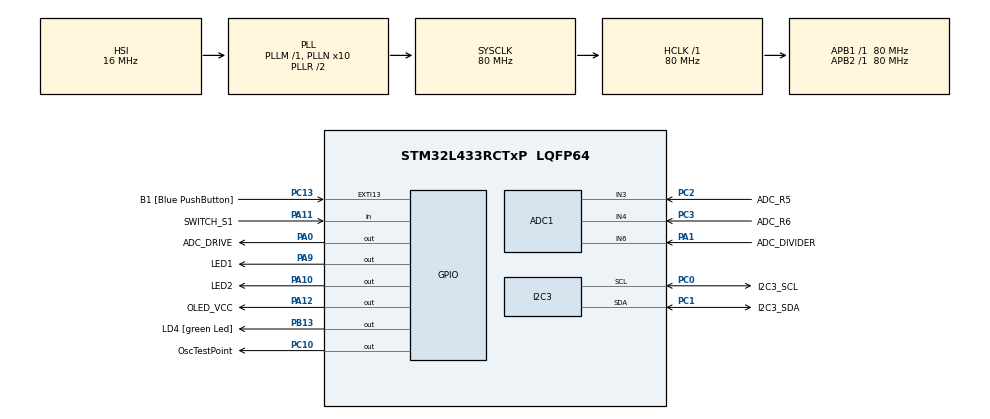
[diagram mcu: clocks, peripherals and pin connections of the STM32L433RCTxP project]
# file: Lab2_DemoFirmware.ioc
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ADC1.Channel-2\#ChannelRegularConversion=ADC_CHANNEL_3
ADC1.Channel-3\#ChannelRegularConversion=ADC_CHANNEL_4
ADC1.Channel-4\#ChannelRegularConversion=ADC_CHANNEL_6
ADC1.EOCSelection=ADC_EOC_SEQ_CONV
ADC1.EnableRegularConversion=ENABLE
ADC1.NbrOfConversion=3
ADC1.NbrOfConversionFlag=1
ADC1.OffsetNumber-2\#ChannelRegularConversion=ADC_OFFSET_NONE
ADC1.OffsetNumber-3\#ChannelRegularConversion=ADC_OFFSET_NONE
ADC1.OffsetNumber-4\#ChannelRegularConversion=ADC_OFFSET_NONE
ADC1.Rank-2\#ChannelRegularConversion=1
ADC1.Rank-3\#ChannelRegularConversion=2
ADC1.Rank-4\#ChannelRegularConversion=3
ADC1.SamplingTime-2\#ChannelRegularConversion=ADC_SAMPLETIME_47CYCLES_5
ADC1.SamplingTime-3\#ChannelRegularConversion=ADC_SAMPLETIME_47CYCLES_5
ADC1.SamplingTime-4\#ChannelRegularConversion=ADC_SAMPLETIME_47CYCLES_5
ADC1.master=1
Dma.ADC1.0.Direction=DMA_PERIPH_TO_MEMORY
Dma.ADC1.0.Instance=DMA1_Channel1
Dma.ADC1.0.MemDataAlignment=DMA_MDATAALIGN_HALFWORD
Dma.ADC1.0.MemInc=DMA_MINC_ENABLE
Dma.ADC1.0.Mode=DMA_NORMAL
Dma.ADC1.0.PeriphDataAlignment=DMA_PDATAALIGN_HALFWORD
Dma.ADC1.0.PeriphInc=DMA_PINC_DISABLE
Dma.ADC1.0.Priority=DMA_PRIORITY_LOW
Dma.Request0=ADC1
I2C3.Timing=0x10909CEC
Mcu.Family=STM32L4
Mcu.Name=STM32L433RCTxP
Mcu.Package=LQFP64
NVIC.ADC1_IRQn=true\:0\:0\:false\:false\:true\:true\:true\:true
NVIC.DMA1_Channel1_IRQn=true\:0\:0\:false\:false\:true\:false\:true\:true
NVIC.PriorityGroup=NVIC_PRIORITYGROUP_4
NVIC.TIM6_DAC_IRQn=true\:0\:0\:false\:false\:true\:true\:true\:true
PA0.GPIO_Label=ADC_DRIVE
PA0.Signal=GPIO_Output
PA1.GPIO_Label=ADC_DIVIDER
PA1.Signal=SharedAnalog_PA1
PA10.GPIO_Label=LED2
PA10.Signal=GPIO_Output
PA11.GPIO_Label=SWITCH_S1
PA11.GPIO_PuPd=GPIO_PULLUP
PA11.Signal=GPIO_Input
PA12.GPIO_Label=OLED_VCC
PA12.Signal=GPIO_Output
PA13\ (JTMS-SWDIO).GPIO_Label=TMS
PA13\ (JTMS-SWDIO).Mode=Serial_Wire
PA13\ (JTMS-SWDIO).Signal=SYS_JTMS-SWDIO
PA14\ (JTCK-SWCLK).GPIO_Label=TCK
PA14\ (JTCK-SWCLK).Mode=Serial_Wire
PA14\ (JTCK-SWCLK).Signal=SYS_JTCK-SWCLK
PA9.GPIO_Label=LED1
PA9.Signal=GPIO_Output
PB13.GPIO_Label=LD4 [green Led]
PB13.Signal=GPIO_Output
PB3\ (JTDO-TRACESWO).GPIO_Label=SWO
PB3\ (JTDO-TRACESWO).Signal=SYS_JTDO-SWO
PC0.GPIO_Label=I2C3_SCL
PC0.Mode=I2C
PC0.Signal=I2C3_SCL
PC1.GPIO_Label=I2C3_SDA
PC1.Mode=I2C
PC1.Signal=I2C3_SDA
PC10.GPIO_Label=OscTestPoint
PC10.Signal=GPIO_Output
PC13.GPIO_Label=B1 [Blue PushButton]
PC13.GPIO_ModeDefaultEXTI=GPIO_MODE_IT_FALLING
PC13.GPIO_PuPd=GPIO_NOPULL
PC13.Signal=GPXTI13
PC14-OSC32_IN\ (PC14).Mode=LSE-External-Oscillator
PC14-OSC32_IN\ (PC14).Signal=RCC_OSC32_IN
PC15-OSC32_OUT\ (PC15).Mode=LSE-External-Oscillator
PC15-OSC32_OUT\ (PC15).Signal=RCC_OSC32_OUT
PC2.GPIO_Label=ADC_R5
PC2.Signal=ADCx_IN3
PC3.GPIO_Label=ADC_R6
PC3.Signal=ADCx_IN4
PH0-OSC_IN\ (PH0).GPIO_Label=MCO
PH0-OSC_IN\ (PH0).Mode=HSE-External-Clock-Source
PH0-OSC_IN\ (PH0).Signal=RCC_OSC_IN
PH1-OSC_OUT\ (PH1).Signal=RCC_OSC_OUT
ProjectManager.HeapSize=0x200
ProjectManager.StackSize=0x400
ProjectManager.TargetToolchain=MDK-ARM V5.27
RCC.ADCFreq_Value=64000000
RCC.AHBFreq_Value=80000000
RCC.APB1Freq_Value=80000000
RCC.APB1TimFreq_Value=80000000
RCC.APB2Freq_Value=80000000
RCC.APB2TimFreq_Value=80000000
RCC.CortexFreq_Value=80000000
RCC.HCLKFreq_Value=80000000
RCC.HSE_VALUE=8000000
RCC.HSI48_VALUE=48000000
RCC.HSI_VALUE=16000000
RCC.MSI_VALUE=4000000
RCC.PLLN=10
RCC.PLLSourceVirtual=RCC_PLLSOURCE_HSI
RCC.PREFETCH_ENABLE=1
RCC.SYSCLKFreq_VALUE=80000000
RCC.SYSCLKSource=RCC_SYSCLKSOURCE_PLLCLK
RCC.USBFreq_Value=64000000
RCC.VCOOutputFreq_Value=160000000
SH.ADCx_IN3.0=ADC1_IN3,IN3-Single-Ended
SH.ADCx_IN4.0=ADC1_IN4,IN4-Single-Ended
SH.SharedAnalog_PA1.0=GPIO_Analog
SH.SharedAnalog_PA1.1=ADC1_IN6,IN6-Single-Ended
TIM6.AutoReloadPreload=TIM_AUTORELOAD_PRELOAD_ENABLE
TIM6.Period=400
TIM6.Prescaler=40000
VP_TIM6_VS_ClockSourceINT.Mode=Enable_Timer
board=NUCLEO-L433RC-P

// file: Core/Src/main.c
/* USER CODE BEGIN Header */
/**
  ******************************************************************************
  * @file           : main.c
  * @brief          : Main program body
  ******************************************************************************
  * @attention
  *
  * Copyright (c) 2023 STMicroelectronics.
  * All rights reserved.
  *
  * This software is licensed under terms that can be found in the LICENSE file
  * in the root directory of this software component.
  * If no LICENSE file comes with this software, it is provided AS-IS.
  *
  ******************************************************************************
  */
/* USER CODE END Header */
#include "main.h"

/* USER CODE BEGIN Includes */
#include "math.h"   // log(), pow() for the sensor conversion

#include "sc_types.h"
#include "Statechart.h"
#include "Statechart_required.h"

#include "ssd1306.h"
#include "fonts.h"
#include <stdio.h>  // sprintf()

#include "EventRecorder.h"                        // Keil::Compiler:Event Messaging

/* USER CODE END Includes */

ADC_HandleTypeDef hadc1;
DMA_HandleTypeDef hdma_adc1;

I2C_HandleTypeDef hi2c3;

TIM_HandleTypeDef htim6;

void SystemClock_Config(void);
static void MX_GPIO_Init(void);
static void MX_DMA_Init(void);
static void MX_ADC1_Init(void);
static void MX_I2C3_Init(void);
static void MX_TIM6_Init(void);

/* USER CODE BEGIN 0 */
#define BUFFERLEN        5     // number of samples averaged before the display is updated
#define NUM_ADC_CHANNELS 3     // ADC scan order (DMA buffer index):
                               // [0] PC2 = ADC1_IN3, divider R5/R7
                               // [1] PC3 = ADC1_IN4, divider R6/R8
                               // [2] PA1 = ADC1_IN6, divider excitation voltage (ADC_DRIVE)
#define R_REF  10e3            // R5 and R6 on the add-on board, ohm (10k or 20k, see board variant)

/* NTC thermistor parameters, needed for the TODO in statechart_processData() */
#define R1_NTC 10e3            // NTC resistance at T1, ohm
#define T1_NTC (25.0+273)      // T1, kelvin
#define B_NTC  3455            // B parameter, kelvin (https://www.electronics-tutorials.ws/io/thermistors.html)

#define A_44 1.1809e-3         // NTC curve 44 (Steinhart-Hart type):
#define B_44 2.1688e-4         //   1/T = A + B*ln(R) + C*ln(R)^2 + D*ln(R)^3,  T in kelvin, R in ohm
#define C_44 1.9006e-6
#define D_44 1.8316e-8

uint16_t DataBufferI2C[BUFFERLEN];                   // raw I2C sensor samples
uint16_t DataBufferADC[BUFFERLEN][NUM_ADC_CHANNELS]; // raw ADC samples

uint32_t SumSensorI2C;
uint32_t SumSensorsADC[NUM_ADC_CHANNELS];
float AverageSensorI2C;                    // averaged I2C sensor temperature, degC
float AverageSensorsADC[NUM_ADC_CHANNELS]; // averaged sensor resistances R7/R8, ohm

Statechart sc_handle; // state machine instance (itemis CREATE)

// =========== I2C temperature sensor LM75AD (START) ===========
// https://www.nxp.com/docs/en/data-sheet/LM75A.pdf
#define TEMPER_REG_POINTER 0   // datasheet: Register list
#define CONFIG_REG_POINTER 1   // datasheet: Register list

#define LM75AD_BASE_ADR  0x90  // datasheet: Slave address (A2..A0 = 0)
#define SENSOR_WRITE_BIT 0     // R/W = 0
#define SENSOR_READ_BIT  1     // R/W = 1

#define LM75AD_CONFIG_NORMAL_MODE 0x00
#define LM75AD_CONFIG_SHUTDOWN    0x01

#define I2C_TIMEOUT 1000       // ms

/* ADC conversion results written by DMA */
#define ADC_CONVERTED_DATA_BUFFER_SIZE ((uint32_t) 32)
static uint16_t aADCxConvertedData[ADC_CONVERTED_DATA_BUFFER_SIZE];

uint8_t TxBuffer[2];   // I2C transmit buffer
uint8_t TxDataSize;

uint8_t RxBuffer[2];   // I2C receive buffer (temperature register)
uint8_t RxDataSize;
int16_t Temp_reg;      // temperature register value, two's complement
float NTC_Temperature[2];

uint16_t NTC_TemperatureSample[NUM_ADC_CHANNELS]; // latest ADC sample of each channel

/* Build options */
//#define DISABLE_DISPLAY     // define to run without the OLED display
//#define DISABLE_PROCESSING  // define to exclude the state machine from the build
#define ENABLE_EVENT_RECORDER // Keil Event Recorder timestamps (active/sleep timing)
#define ENABLE_SLEEP          // enter SLEEP mode between interrupts

/* DEBUGGING AND PERFORMANCE DECLARATIONS (START) */
#define EVENT_ENTER_ID       0x1
#define EVENT_GOSLEEP_ID     0x2
#define EVENT_TIMER_ID       0x3
#define EVENT_ADC_ID         0x4
#define EVENT_DISPLAY_END_ID 0x5

#ifdef ENABLE_EVENT_RECORDER
#define DEBUG_EVENT_START()    EventRecord2 (EVENT_ENTER_ID+EventLevelAPI, 0, 0)
#define DEBUG_EVENT_GOSLEEP()  EventRecord2 (EVENT_GOSLEEP_ID+EventLevelAPI, 0, 0)
#define DEBUG_EVENT_TIMER()    EventRecord2 (EVENT_TIMER_ID+EventLevelAPI, 0, 0)
#define DEBUG_EVENT_ADC()      EventRecord2 (EVENT_ADC_ID+EventLevelAPI, 0, 0)
#define DEBUG_EVENT_DISPLAY()  EventRecord2 (EVENT_DISPLAY_END_ID+EventLevelAPI, 0, 0)
#else
#define DEBUG_EVENT_START()    __asm("NOP")
#define DEBUG_EVENT_GOSLEEP()  __asm("NOP")
#define DEBUG_EVENT_TIMER()    __asm("NOP")
#define DEBUG_EVENT_ADC()      __asm("NOP")
#define DEBUG_EVENT_DISPLAY()  __asm("NOP")
#endif
/* DEBUGGING AND PERFORMANCE DECLARATIONS (END) */

/* I2C error handler (add error handling if needed) */
void MyErrorHandlerI2C()
{
}
/* ADC error handler (add error handling if needed) */
void MyErrorHandlerADC()
{
}

// =========== I2C temperature sensor LM75AD (END) ===========

/* Read the LM75AD temperature sensor over I2C in blocking mode */
void statechart_readI2CSensor( Statechart* handle)
{
  // Set the sensor to normal (continuous conversion) mode
  TxBuffer[0]=CONFIG_REG_POINTER;        // pointer: configuration register
  TxBuffer[1]=LM75AD_CONFIG_NORMAL_MODE; // value: normal mode
  TxDataSize=2;
  if (HAL_I2C_Master_Transmit(&hi2c3,LM75AD_BASE_ADR|SENSOR_WRITE_BIT,TxBuffer,TxDataSize,I2C_TIMEOUT)!=HAL_OK)
    MyErrorHandlerI2C();

  // Select the temperature register for the following read
  TxBuffer[0]=TEMPER_REG_POINTER;        // pointer: temperature register
  TxDataSize=1;
  if (HAL_I2C_Master_Transmit(&hi2c3,LM75AD_BASE_ADR|SENSOR_WRITE_BIT,TxBuffer,TxDataSize,I2C_TIMEOUT)!=HAL_OK)
    MyErrorHandlerI2C();

  /* TODO (student): read the temperature register.
   *  - Receive 2 bytes into RxBuffer with HAL_I2C_Master_Receive(), using the
   *    address LM75AD_BASE_ADR|SENSOR_READ_BIT and I2C_TIMEOUT.
   *  - Combine them into Temp_reg: the first byte is the MSB, the second the LSB.
   *  - Temp_reg is a two's complement value; its upper 11 bits hold the temperature
   *    in 0.125 degC steps, so temperature in degC = Temp_reg / 256.0
   *    (see the LM75A datasheet, temperature register).
   *  - MAX7500 uses the same registers; BMP180/BMP280 boards need the register
   *    sequence from their own datasheet.
   */
}

/* Save the I2C sensor value to the data buffer */
sc_integer statechart_saveI2CSample( Statechart* handle, const sc_integer sample_no)
{
  DataBufferI2C[sample_no]=Temp_reg;
  return 1;
}

/* Start one ADC scan of all channels; the results are written to aADCxConvertedData by DMA */
sc_integer statechart_startConvADC( Statechart* handle, const sc_integer channel)
{
  if (HAL_ADC_Start_DMA(&hadc1,(uint32_t *)aADCxConvertedData,NUM_ADC_CHANNELS) != HAL_OK)
  {
    MyErrorHandlerADC();
    return 0;
  }
  return 1;
}

/* Copy the ADC results from the DMA buffer once all channels are sampled */
sc_integer statechart_readADCSample( Statechart* handle, const sc_integer channel)
{
  if (channel==2)
  {
    NTC_TemperatureSample[0]=aADCxConvertedData[0];
    NTC_TemperatureSample[1]=aADCxConvertedData[1];
    NTC_TemperatureSample[2]=aADCxConvertedData[2];
  }
  return 1;
}

/* Save the ADC samples of all channels to the data buffer */
sc_integer statechart_saveADCSample( Statechart* handle, const sc_integer channel, const sc_integer sample)
{
  for (int i=0;i<NUM_ADC_CHANNELS;i++)
    DataBufferADC[sample][i]=NTC_TemperatureSample[i];
  return 1;
}

/* Average the buffered samples and convert them to physical units */
void statechart_processData(Statechart* handle)
{
  int j;
  uint32_t sum1,sum2[NUM_ADC_CHANNELS];

  sum1=0;
  for(j=0;j<NUM_ADC_CHANNELS;j++)
    sum2[j]=0;

  for(int i=0;i<BUFFERLEN;i++)
  {
    sum1+=DataBufferI2C[i];
    for(j=0;j<NUM_ADC_CHANNELS;j++)
      sum2[j]+=DataBufferADC[i][j];
  }

  // I2C sensor: 1/256 degC per LSB of Temp_reg
  AverageSensorI2C=sum1/BUFFERLEN/256;

  // Analog sensors: resistance of R7/R8 from the divider equation
  // R_sensor = R_REF * V_sensor / (V_excitation - V_sensor), V_excitation is channel [2]
  for(j=0;j<NUM_ADC_CHANNELS-1;j++)
    AverageSensorsADC[j]=sum2[j]*R_REF/(sum2[2]-sum2[j]);

  /* TODO (student): convert the sensor resistances AverageSensorsADC[0..1] (ohm)
   * to temperature in degC and store them in NTC_Temperature[0..1].
   *  - NTC variants: use the B-parameter model (R1_NTC, T1_NTC, B_NTC) or the more
   *    accurate curve 44 (A_44..D_44); both give the temperature in kelvin.
   *  - Photoresistor (LDR04) variants: convert the resistance to illuminance (lux)
   *    using the gamma coefficient from the photoresistor datasheet, and change the
   *    display text in statechart_displayInfo() accordingly.
   */
}

/* Show the averaged sensor values on the OLED display */
void statechart_displayInfo( Statechart* handle)
{
#ifndef DISABLE_DISPLAY
  static char string_display[30];

  // I2C sensor reading
  ssd1306_SetCursor(0, 0);
  sprintf(string_display,"T0=%.1f C    ",AverageSensorI2C);
  ssd1306_WriteString(string_display,Font_11x18, White);

  // Analog sensor readings
  ssd1306_SetCursor(0, 22);
  sprintf(string_display,"T1=%.1f C    ",NTC_Temperature[0]);
  ssd1306_WriteString(string_display,Font_11x18, White);
  ssd1306_SetCursor(0, 44);
  sprintf(string_display,"T2=%.1f C    ",NTC_Temperature[1]);
  ssd1306_WriteString(string_display,Font_11x18, White);

  // Copy the screen buffer to the display
  ssd1306_UpdateScreen(&hi2c3);
#endif

  DEBUG_EVENT_DISPLAY();
  __asm("NOP");  // place a breakpoint here to stop at the end of an iteration
}

/* Sampling timer (TIM6) interrupt callback */
void HAL_TIM_PeriodElapsedCallback(TIM_HandleTypeDef *htim)
{
  DEBUG_EVENT_TIMER();
  if (htim==&htim6)
  {
    HAL_ResumeTick();                          // enable SysTick after wake-up
    statechart_raise_ev_GetSample(&sc_handle); // raise event Ev_GetSample in the state machine
  }
}

/* ADC conversion (DMA transfer) completed callback */
void HAL_ADC_ConvCpltCallback(ADC_HandleTypeDef *hadc)
{
  DEBUG_EVENT_ADC();
  HAL_ResumeTick();                               // enable SysTick after wake-up
  statechart_raise_ev_ADCSampleReady(&sc_handle); // raise event Ev_ADCSampleReady in the state machine
}

/* USER CODE END 0 */

int main(void)
{

  /* MCU Configuration--------------------------------------------------------*/

  /* Reset of all peripherals, Initializes the Flash interface and the Systick. */
  HAL_Init();

  /* Configure the system clock */
  SystemClock_Config();

  /* Initialize all configured peripherals */
  MX_GPIO_Init();
  MX_DMA_Init();
  MX_ADC1_Init();
  MX_I2C3_Init();
  MX_TIM6_Init();
  /* USER CODE BEGIN 2 */
#ifdef ENABLE_EVENT_RECORDER
  EventRecorderInitialize(EventRecordAll, 1);  // initialize and start Event Recorder
#endif

  HAL_GPIO_WritePin(ADC_DRIVE_GPIO_Port,ADC_DRIVE_Pin,GPIO_PIN_SET);  // excite the analog sensor dividers

#ifndef DISABLE_DISPLAY
  HAL_GPIO_WritePin(OLED_VCC_GPIO_Port,OLED_VCC_Pin,GPIO_PIN_SET);    // power the OLED display
  HAL_Delay(1000);                                                    // wait until the OLED supply settles

  ssd1306_Init(&hi2c3);
  ssd1306_SetCursor(0,0);
  ssd1306_WriteString("KTU",Font_11x18, White);
  ssd1306_SetCursor(0, 26);
  ssd1306_WriteString("Low Power",Font_11x18, White);
  ssd1306_SetCursor(0, 44);
  ssd1306_WriteString("Embedded",Font_11x18, White);
  ssd1306_UpdateScreen(&hi2c3);  // copy the screen buffer to the display
#endif

#ifndef DISABLE_PROCESSING
  statechart_init(&sc_handle);   // initialize the state machine
  statechart_enter(&sc_handle);  // start the state machine

  if (HAL_TIM_Base_Start_IT(&htim6) != HAL_OK)  // start the sampling timer TIM6
  {
    Error_Handler();
  }
#endif

  /* USER CODE END 2 */

  /* Infinite loop */
  /* USER CODE BEGIN WHILE */
  DEBUG_EVENT_START();
  while (1)
  {
#ifdef ENABLE_SLEEP
    HAL_SuspendTick();  // stop SysTick, otherwise it wakes the CPU every 1 ms
#endif
    DEBUG_EVENT_GOSLEEP();

#ifdef ENABLE_SLEEP
    // SLEEP mode: the TIM6 and ADC/DMA interrupts wake the CPU, their callbacks resume SysTick
    HAL_PWR_EnterSLEEPMode(PWR_MAINREGULATOR_ON, PWR_SLEEPENTRY_WFI);
#endif

    /* TODO (student, problem task 3): use STOP0 mode instead of SLEEP.
     *  - Enter STOP0 with HAL_PWREx_EnterSTOP0Mode(PWR_STOPENTRY_WFI).
     *  - TIM6 stops in STOP mode: wake the MCU with the RTC wake-up timer clocked
     *    from the LSI oscillator (enable the RTC and its wake-up interrupt in CubeMX).
     *  - The PLL is switched off in STOP mode: after wake-up, restore the system
     *    clock (e.g. call SystemClock_Config()) before using the peripherals.
     *  - Include the wake-up time in the timing model and compare the measured current.
     */
    /* USER CODE END WHILE */

  }
}

void SystemClock_Config(void)
{
  RCC_OscInitTypeDef RCC_OscInitStruct = {0};
  RCC_ClkInitTypeDef RCC_ClkInitStruct = {0};

  /** Configure the main internal regulator output voltage
  */
  if (HAL_PWREx_ControlVoltageScaling(PWR_REGULATOR_VOLTAGE_SCALE1) != HAL_OK)
  {
    Error_Handler();
  }

  /** Initializes the RCC Oscillators according to the specified parameters
  * in the RCC_OscInitTypeDef structure.
  */
  RCC_OscInitStruct.OscillatorType = RCC_OSCILLATORTYPE_HSI;
  RCC_OscInitStruct.HSIState = RCC_HSI_ON;
  RCC_OscInitStruct.HSICalibrationValue = RCC_HSICALIBRATION_DEFAULT;
  RCC_OscInitStruct.PLL.PLLState = RCC_PLL_ON;
  RCC_OscInitStruct.PLL.PLLSource = RCC_PLLSOURCE_HSI;
  RCC_OscInitStruct.PLL.PLLM = 1;
  RCC_OscInitStruct.PLL.PLLN = 10;
  RCC_OscInitStruct.PLL.PLLP = RCC_PLLP_DIV7;
  RCC_OscInitStruct.PLL.PLLQ = RCC_PLLQ_DIV2;
  RCC_OscInitStruct.PLL.PLLR = RCC_PLLR_DIV2;
  if (HAL_RCC_OscConfig(&RCC_OscInitStruct) != HAL_OK)
  {
    Error_Handler();
  }

  /** Initializes the CPU, AHB and APB buses clocks
  */
  RCC_ClkInitStruct.ClockType = RCC_CLOCKTYPE_HCLK|RCC_CLOCKTYPE_SYSCLK
                              |RCC_CLOCKTYPE_PCLK1|RCC_CLOCKTYPE_PCLK2;
  RCC_ClkInitStruct.SYSCLKSource = RCC_SYSCLKSOURCE_PLLCLK;
  RCC_ClkInitStruct.AHBCLKDivider = RCC_SYSCLK_DIV1;
  RCC_ClkInitStruct.APB1CLKDivider = RCC_HCLK_DIV1;
  RCC_ClkInitStruct.APB2CLKDivider = RCC_HCLK_DIV1;

  if (HAL_RCC_ClockConfig(&RCC_ClkInitStruct, FLASH_LATENCY_4) != HAL_OK)
  {
    Error_Handler();
  }
}

static void MX_ADC1_Init(void)
{

  ADC_ChannelConfTypeDef sConfig = {0};

  /** Common config
  */
  hadc1.Instance = ADC1;
  hadc1.Init.ClockPrescaler = ADC_CLOCK_ASYNC_DIV1;
  hadc1.Init.Resolution = ADC_RESOLUTION_12B;
  hadc1.Init.DataAlign = ADC_DATAALIGN_RIGHT;
  hadc1.Init.ScanConvMode = ADC_SCAN_ENABLE;
  hadc1.Init.EOCSelection = ADC_EOC_SEQ_CONV;
  hadc1.Init.LowPowerAutoWait = DISABLE;
  hadc1.Init.ContinuousConvMode = DISABLE;
  hadc1.Init.NbrOfConversion = 3;
  hadc1.Init.DiscontinuousConvMode = DISABLE;
  hadc1.Init.ExternalTrigConv = ADC_SOFTWARE_START;
  hadc1.Init.ExternalTrigConvEdge = ADC_EXTERNALTRIGCONVEDGE_NONE;
  hadc1.Init.DMAContinuousRequests = DISABLE;
  hadc1.Init.Overrun = ADC_OVR_DATA_PRESERVED;
  hadc1.Init.OversamplingMode = DISABLE;
  if (HAL_ADC_Init(&hadc1) != HAL_OK)
  {
    Error_Handler();
  }

  /** Configure Regular Channel
  */
  sConfig.Channel = ADC_CHANNEL_3;
  sConfig.Rank = ADC_REGULAR_RANK_1;
  sConfig.SamplingTime = ADC_SAMPLETIME_47CYCLES_5;
  sConfig.SingleDiff = ADC_SINGLE_ENDED;
  sConfig.OffsetNumber = ADC_OFFSET_NONE;
  sConfig.Offset = 0;
  if (HAL_ADC_ConfigChannel(&hadc1, &sConfig) != HAL_OK)
  {
    Error_Handler();
  }

  /** Configure Regular Channel
  */
  sConfig.Channel = ADC_CHANNEL_4;
  sConfig.Rank = ADC_REGULAR_RANK_2;
  if (HAL_ADC_ConfigChannel(&hadc1, &sConfig) != HAL_OK)
  {
    Error_Handler();
  }

  /** Configure Regular Channel
  */
  sConfig.Channel = ADC_CHANNEL_6;
  sConfig.Rank = ADC_REGULAR_RANK_3;
  if (HAL_ADC_ConfigChannel(&hadc1, &sConfig) != HAL_OK)
  {
    Error_Handler();
  }

}

static void MX_I2C3_Init(void)
{

  hi2c3.Instance = I2C3;
  hi2c3.Init.Timing = 0x10909CEC;
  hi2c3.Init.OwnAddress1 = 0;
  hi2c3.Init.AddressingMode = I2C_ADDRESSINGMODE_7BIT;
  hi2c3.Init.DualAddressMode = I2C_DUALADDRESS_DISABLE;
  hi2c3.Init.OwnAddress2 = 0;
  hi2c3.Init.OwnAddress2Masks = I2C_OA2_NOMASK;
  hi2c3.Init.GeneralCallMode = I2C_GENERALCALL_DISABLE;
  hi2c3.Init.NoStretchMode = I2C_NOSTRETCH_DISABLE;
  if (HAL_I2C_Init(&hi2c3) != HAL_OK)
  {
    Error_Handler();
  }

  /** Configure Analogue filter
  */
  if (HAL_I2CEx_ConfigAnalogFilter(&hi2c3, I2C_ANALOGFILTER_ENABLE) != HAL_OK)
  {
    Error_Handler();
  }

  /** Configure Digital filter
  */
  if (HAL_I2CEx_ConfigDigitalFilter(&hi2c3, 0) != HAL_OK)
  {
    Error_Handler();
  }

}

static void MX_TIM6_Init(void)
{

  TIM_MasterConfigTypeDef sMasterConfig = {0};

  htim6.Instance = TIM6;
  htim6.Init.Prescaler = 40000;
  htim6.Init.CounterMode = TIM_COUNTERMODE_UP;
  htim6.Init.Period = 400;
  htim6.Init.AutoReloadPreload = TIM_AUTORELOAD_PRELOAD_ENABLE;
  if (HAL_TIM_Base_Init(&htim6) != HAL_OK)
  {
    Error_Handler();
  }
  sMasterConfig.MasterOutputTrigger = TIM_TRGO_RESET;
  sMasterConfig.MasterSlaveMode = TIM_MASTERSLAVEMODE_DISABLE;
  if (HAL_TIMEx_MasterConfigSynchronization(&htim6, &sMasterConfig) != HAL_OK)
  {
    Error_Handler();
  }

}

static void MX_DMA_Init(void)
{

  /* DMA controller clock enable */
  __HAL_RCC_DMA1_CLK_ENABLE();

  /* DMA interrupt init */
  /* DMA1_Channel1_IRQn interrupt configuration */
  HAL_NVIC_SetPriority(DMA1_Channel1_IRQn, 0, 0);
  HAL_NVIC_EnableIRQ(DMA1_Channel1_IRQn);

}

static void MX_GPIO_Init(void)
{
  GPIO_InitTypeDef GPIO_InitStruct = {0};

  /* GPIO Ports Clock Enable */
  __HAL_RCC_GPIOC_CLK_ENABLE();
  __HAL_RCC_GPIOH_CLK_ENABLE();
  __HAL_RCC_GPIOA_CLK_ENABLE();
  __HAL_RCC_GPIOB_CLK_ENABLE();

  /*Configure GPIO pin Output Level */
  HAL_GPIO_WritePin(GPIOA, ADC_DRIVE_Pin|LED1_Pin|LED2_Pin|OLED_VCC_Pin, GPIO_PIN_RESET);

  /*Configure GPIO pin Output Level */
  HAL_GPIO_WritePin(LD4_GPIO_Port, LD4_Pin, GPIO_PIN_RESET);

  /*Configure GPIO pin Output Level */
  HAL_GPIO_WritePin(OscTestPoint_GPIO_Port, OscTestPoint_Pin, GPIO_PIN_RESET);

  /*Configure GPIO pin : B1_Pin */
  GPIO_InitStruct.Pin = B1_Pin;
  GPIO_InitStruct.Mode = GPIO_MODE_IT_FALLING;
  GPIO_InitStruct.Pull = GPIO_NOPULL;
  HAL_GPIO_Init(B1_GPIO_Port, &GPIO_InitStruct);

  /*Configure GPIO pins : ADC_DRIVE_Pin LED1_Pin LED2_Pin OLED_VCC_Pin */
  GPIO_InitStruct.Pin = ADC_DRIVE_Pin|LED1_Pin|LED2_Pin|OLED_VCC_Pin;
  GPIO_InitStruct.Mode = GPIO_MODE_OUTPUT_PP;
  GPIO_InitStruct.Pull = GPIO_NOPULL;
  GPIO_InitStruct.Speed = GPIO_SPEED_FREQ_LOW;
  HAL_GPIO_Init(GPIOA, &GPIO_InitStruct);

  /*Configure GPIO pin : LD4_Pin */
  GPIO_InitStruct.Pin = LD4_Pin;
  GPIO_InitStruct.Mode = GPIO_MODE_OUTPUT_PP;
  GPIO_InitStruct.Pull = GPIO_NOPULL;
  GPIO_InitStruct.Speed = GPIO_SPEED_FREQ_LOW;
  HAL_GPIO_Init(LD4_GPIO_Port, &GPIO_InitStruct);

  /*Configure GPIO pin : SWITCH_S1_Pin */
  GPIO_InitStruct.Pin = SWITCH_S1_Pin;
  GPIO_InitStruct.Mode = GPIO_MODE_INPUT;
  GPIO_InitStruct.Pull = GPIO_PULLUP;
  HAL_GPIO_Init(SWITCH_S1_GPIO_Port, &GPIO_InitStruct);

  /*Configure GPIO pin : OscTestPoint_Pin */
  GPIO_InitStruct.Pin = OscTestPoint_Pin;
  GPIO_InitStruct.Mode = GPIO_MODE_OUTPUT_PP;
  GPIO_InitStruct.Pull = GPIO_NOPULL;
  GPIO_InitStruct.Speed = GPIO_SPEED_FREQ_LOW;
  HAL_GPIO_Init(OscTestPoint_GPIO_Port, &GPIO_InitStruct);

}

void Error_Handler(void)
{
  __disable_irq();
  while (1)
  {
  }
}
